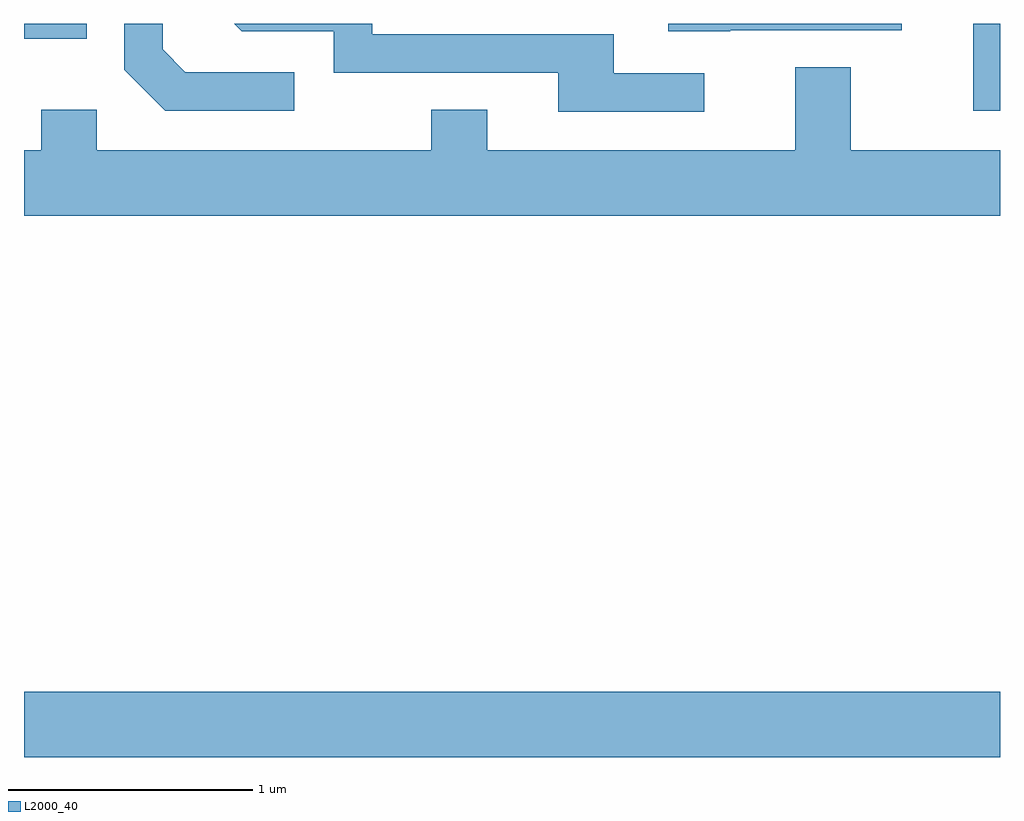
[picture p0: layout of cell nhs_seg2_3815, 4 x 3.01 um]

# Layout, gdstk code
import gdstk
lib = gdstk.Library(unit=1e-6, precision=1e-09)
def R(c, l, rs):  # rectangles x0, y0, x1, y1
    for r in rs: c.add(gdstk.rectangle(r[:2], r[2:], *l))
def P(c, l, *ps):  # polygons
    for p in ps: c.add(gdstk.Polygon(p, *l))
L2000_40 = (2000, 40)

nhs_seg2_3815 = lib.new_cell('nhs_seg2_3815')
R(nhs_seg2_3815, L2000_40, [(297.611,1012.796,301.611,1013.064), (301.501,1015.446,301.611,1015.802), (297.611,1015.741,297.869,1015.802)])
P(nhs_seg2_3815, L2000_40, [(300.398,1015.599),(300.029,1015.599),(300.029,1015.759),(299.039,1015.759),(299.039,1015.802),(298.473,1015.802),(298.504,1015.771),(298.881,1015.771),(298.881,1015.601),(299.801,1015.601),(299.801,1015.441),(300.398,1015.441)],
  [(298.718,1015.604),(298.272,1015.604),(298.179,1015.697),(298.179,1015.802),(298.021,1015.802),(298.021,1015.614),(298.189,1015.446),(298.718,1015.446)],
  [(300.505,1015.776),(301.209,1015.776),(301.209,1015.802),(300.251,1015.802),(300.251,1015.771),(300.505,1015.771)],
  [(301.611,1015.284),(300.999,1015.284),(300.999,1015.624),(300.771,1015.624),(300.771,1015.284),(299.509,1015.284),(299.509,1015.449),(299.281,1015.449),(299.281,1015.284),(297.909,1015.284),(297.909,1015.449),(297.681,1015.449),(297.681,1015.284),(297.611,1015.284),(297.611,1015.016),(301.611,1015.016)])

lib.write_gds('nhs_seg2_3815.gds')
